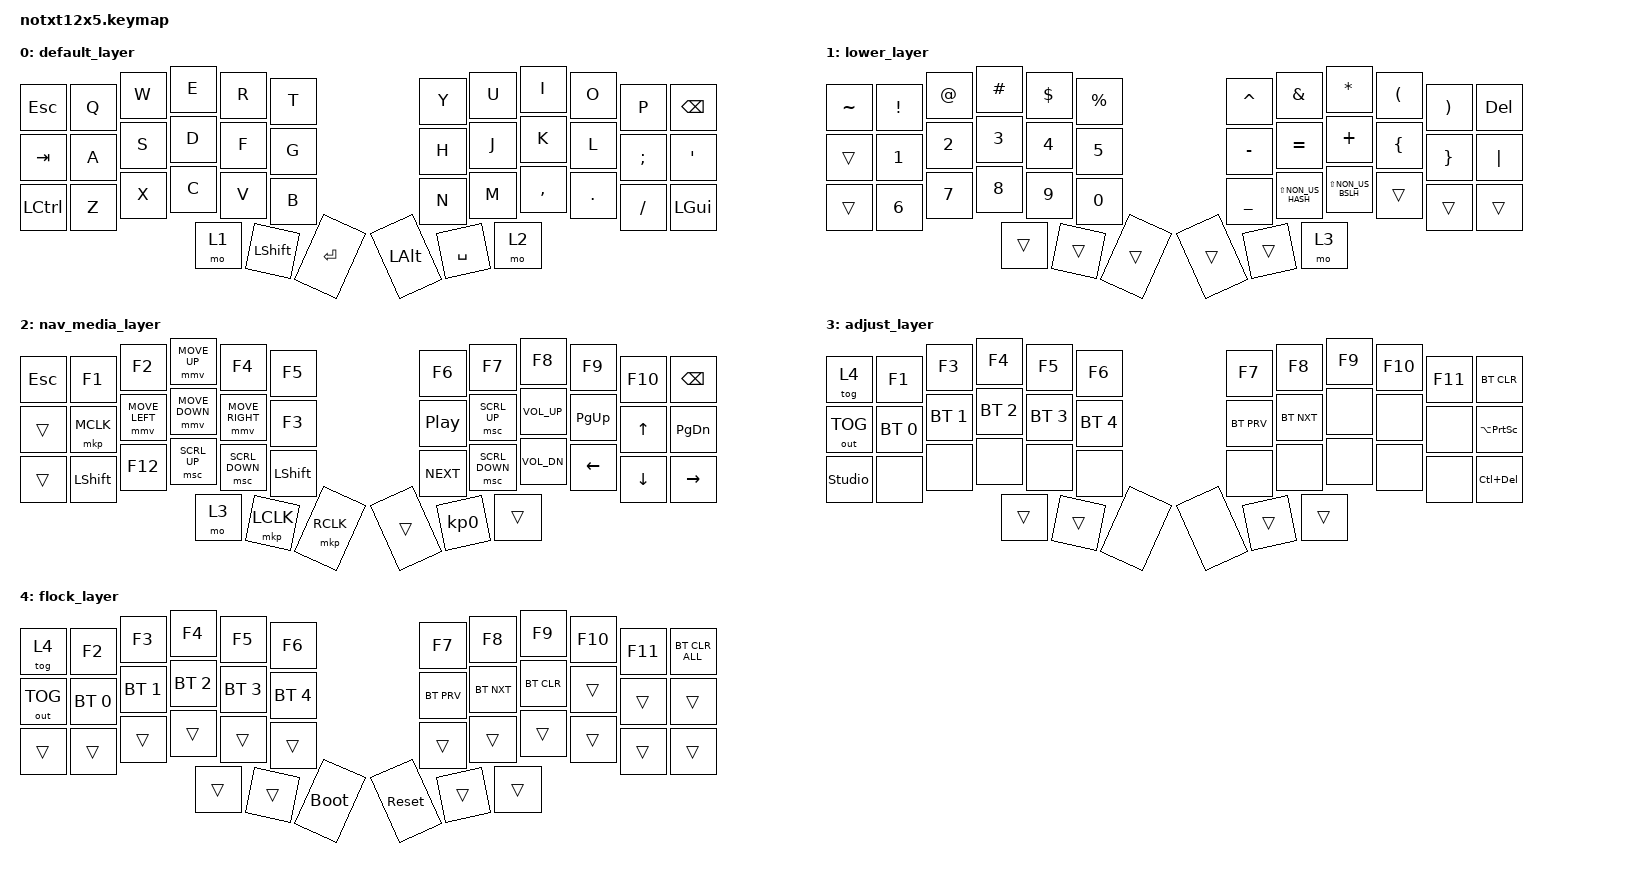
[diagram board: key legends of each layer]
/*
 * Copyright (c) 2021 The ZMK Contributors
 *
 * SPDX-License-Identifier: MIT
 */

#define ZMK_POINTING_DEFAULT_MOVE_VAL 1500  // default: 600
#define ZMK_POINTING_DEFAULT_SCRL_VAL  20    // default: 10

#include <dt-bindings/zmk/pointing.h>
#include <behaviors.dtsi>
#include <dt-bindings/zmk/keys.h>
#include <dt-bindings/zmk/bt.h>
#include <dt-bindings/zmk/outputs.h>



/ {
    keymap {
        compatible = "zmk,keymap";

        default_layer {
            // ------------------------------------------------------------------------------------------
            // |  ESC  |  Q   |  W   |  E   |  R   |  T   |   Y   |  U    |  I   |  O   |   P   | BSPC  |
            // |  TAB  |  A   |  S   |  D   |  F   |  G   |   H   |  J    |  K   |  L   |   ;   |  '    |
            // | CTRL  |  Z   |  X   |  C   |  V   |  B   |   N   |  M    |  ,   |  .   |   /   | LGUI  |
            // |       |      |      | LOWR | LSHFT| ENTER|  ALT  | SPACE | RAIS |      |       |       |


            bindings = <
                &kp ESC     &kp Q    &kp W    &kp E    &kp R      &kp T       &kp Y       &kp U      &kp I       &kp O       &kp P       &kp BSPC
                &kp TAB     &kp A    &kp S    &kp D    &kp F      &kp G       &kp H       &kp J      &kp K       &kp L       &kp SEMI    &kp SQT
                &kp LCTRL   &kp Z    &kp X    &kp C    &kp V      &kp B       &kp N       &kp M      &kp COMMA   &kp DOT     &kp FSLH    &kp LGUI
                                              &mo 1    &kp LSHFT  &kp ENTER   &kp LALT    &kp SPACE  &mo 2
            >;
        };

        lower_layer {
            // -------------------------------------------------------------------------------------------
            // |   ~   |  !   |  @   |  #   |  $   |  %   |   ^   |   &   |  *   |  (   |   )   |  DEL  |
            // |       |  1   |  2   |  3   |  4   |  5   |   -   |   =   |  +   |  {   |   }   |   |   |
            // |       |  6   |  7   |  8   |  9   |  10  |   _   | LS(#) |LS(|) |      |       |       |
            // |       |      |      |      |      |      |       |       |      |      |       |       |
            bindings = <
                &kp TILDE  &kp EXCL  &kp AT   &kp HASH &kp DLLR  &kp PRCNT    &kp CARET       &kp AMPS            &kp ASTRK           &kp LPAR     &kp RPAR         &kp DEL
                &trans     &kp N1    &kp N2   &kp N3   &kp N4    &kp N5       &kp MINUS       &kp EQUAL           &kp PLUS            &kp LBRC     &kp RBRC         &kp PIPE
                &trans     &kp N6    &kp N7   &kp N8   &kp N9    &kp N0       &kp UNDER       &kp LS(NON_US_HASH) &kp LS(NON_US_BSLH) &trans       &trans           &trans
                                              &trans   &trans    &trans       &trans          &trans              &mo 3               
            >;
        };

        nav_media_layer {
            // ------------------------------------------------------------------------------------------
            // |  ESC  |  F2  |  F3  |  F4  |  F5  |  F6  |  F7   |  F8   |  F9  | F10  |  F11  |  F12  |
            // |   ~   |  1   |  2   |  3   |  4   |  5   |  6    |   7   |  8   |  9   |  UP   |  DEL  |
            // |  DEL  |  F1  |  F2  |  F3  |  F4  |  F5  |  F6   |   -   |  =   | LEFT |  DOWN | RIGHT |
            // |       |      |      |  F9  |  F10 |  F11 |  F12  |   #   |  |   |      |       |       |
            // |       |      |      |      |      |      |       |       |      |      |       |       |
            bindings = <
                &kp ESC   &kp F1    &kp F2          &mmv MOVE_UP     &kp F4           &kp F5        &kp F6      &kp F7          &kp F8        &kp F9     &kp F10   &kp BSPC
                &trans    &mkp MCLK &mmv MOVE_LEFT  &mmv MOVE_DOWN   &mmv MOVE_RIGHT  &kp F3        &kp C_PP    &msc SCRL_UP    &kp C_VOL_UP  &kp PG_UP  &kp UP    &kp PG_DN   
                &trans    &kp LSHFT &kp F12         &msc SCRL_UP     &msc SCRL_DOWN   &kp LSHFT     &kp C_NEXT  &msc SCRL_DOWN  &kp C_VOL_DN  &kp LEFT   &kp DOWN  &kp RIGHT
                                                    &mo 3            &mkp LCLK        &mkp RCLK     &trans      &kp KP_N0       &trans     
            >;
        };

        adjust_layer {
            // ------------------------------------------------------------------------------------------
            // |tog(4)|  F2  |  F3  |  F4  |  F5  |  F6  |  F7  |  F8  |  F9  |  F10 |  F11 |    F12    |
            // |      |  NA  |  NA  |  NA  |  NA  |  NA  |  NA  |  NA  |  NA  |  NA  |  NA  |LALT(PRTSN)|
            // |      |  NA  |  NA  |  NA  |  NA  |  NA  |  NA  |  NA  |  NA  |  NA  |  NA  |   PRTSN   |
            // |      |  NA  |  NA  |  NA  |  NA  |  NA  |  NA  |  NA  |  NA  |  NA  |  NA  |LCTRL(DEL) |
            // |      |      |      |      |      |BOOTLD|BOOTLD|      |      |      |      |           |
            bindings = <
                &tog 4       &kp F1       &kp F3       &kp F4       &kp F5       &kp F6       &kp F7     &kp F8     &kp F9 &kp F10 &kp F11 &bt BT_CLR
                &out OUT_TOG &bt BT_SEL 0 &bt BT_SEL 1 &bt BT_SEL 2 &bt BT_SEL 3 &bt BT_SEL 4 &bt BT_PRV &bt BT_NXT &none  &none   &none   &kp LA(PSCRN)
                &studio_unlock       &none        &none        &none        &none        &none        &none      &none      &none  &none   &none   &kp LC(DEL)
                                                      &trans &trans &none   &none &trans    &trans     
            >;
        };

        flock_layer {
            // ----------------------------------------------------------------------------------------------
            // |tog(4) |  F2    |   F3   |   F4   |   F5   |   F6   |  F7  |  F8  |  F9  | F10 | F11 |      |
            // |out tog|BT_SEL 0|BT_SEL 1|BT_SEL 2|BT_SEL 3|BT_SEL 4|BT_PRV|BT_NXT|BT_CLR|     |     |      |
            // |       |        |        |        |        |        |      |      |      |     |     |      |
            // |       |        |        |        |        |        |      |      |      |     |     |      |
            // |       |        |        |        |BOOTLD  | BOOTLD |      |      |      |     |     |      |
            bindings = <
                &tog 4       &kp F2       &kp F3       &kp F4       &kp F5       &kp F6       &kp F7     &kp F8     &kp F9     &kp F10 &kp F11 &bt BT_CLR_ALL
                &out OUT_TOG &bt BT_SEL 0 &bt BT_SEL 1 &bt BT_SEL 2 &bt BT_SEL 3 &bt BT_SEL 4 &bt BT_PRV &bt BT_NXT &bt BT_CLR &trans  &trans  &trans
                &trans       &trans       &trans       &trans       &trans       &trans       &trans     &trans     &trans     &trans  &trans  &trans
                                                       &trans       &trans       &bootloader  &sys_reset     &trans     &trans     
            >;
        };
    };
};
